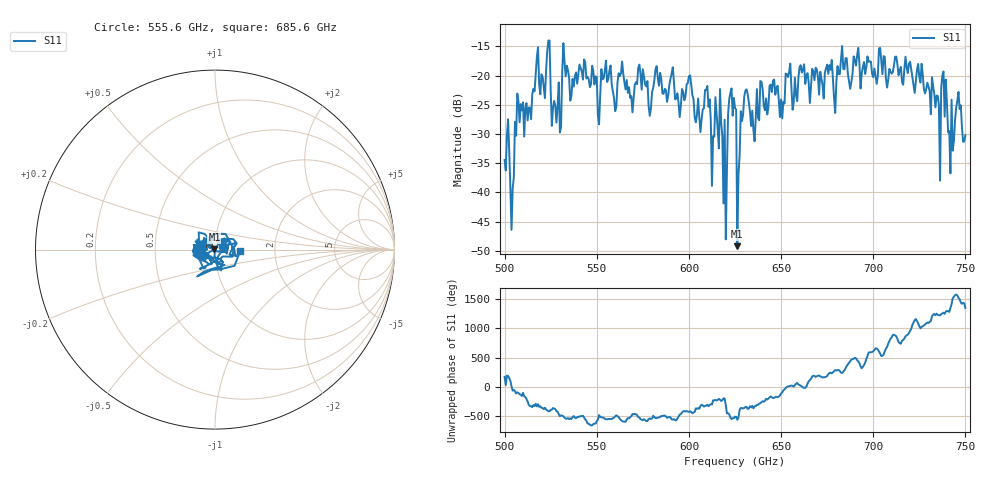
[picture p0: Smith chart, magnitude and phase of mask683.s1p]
!Created with skrf (http://scikit-rf.org).
# GHz S MA R 50.0
!freq magS11 angS11
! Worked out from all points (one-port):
!   401 points, 500 GHz to 750 GHz, reference 50 ohm
!   lowest |S11| = -49.2 dB at 626.2 GHz (marker M1), VSWR 1.01, Z = 49.7 + j0.142 ohm
!   |S11| at or under -10 dB: start of sweep to end of sweep
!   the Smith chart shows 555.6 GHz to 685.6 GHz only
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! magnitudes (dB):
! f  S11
! 500 GHz  -34.5
! 503.8 GHz  -46.4
! 506.9 GHz  -23.1
! 513.8 GHz  -25.5
! 516.9 GHz  -19.8
! 523.8 GHz  -14.0
! 526.9 GHz  -24.3
! 531.2 GHz  -19.4
! 559.4 GHz  -23.9
! 562.5 GHz  -20.1
! 593.8 GHz  -23.0
! 610 GHz  -21.8
! 612.5 GHz  -38.9
! 618.1 GHz  -30.3
! 619.4 GHz  -27.6
! 622.5 GHz  -22.9
! 625 GHz  -25.5
! 626.2 GHz  -49.2
! 631.2 GHz  -22.4
! 635 GHz  -29.3
! 656.2 GHz  -25.8
! 687.5 GHz  -22.3
! 718.8 GHz  -19.5
! 735 GHz  -23.5
! 738.1 GHz  -19.3
! 742.5 GHz  -24.1
! 746.2 GHz  -22.8
! 750 GHz  -30.2
